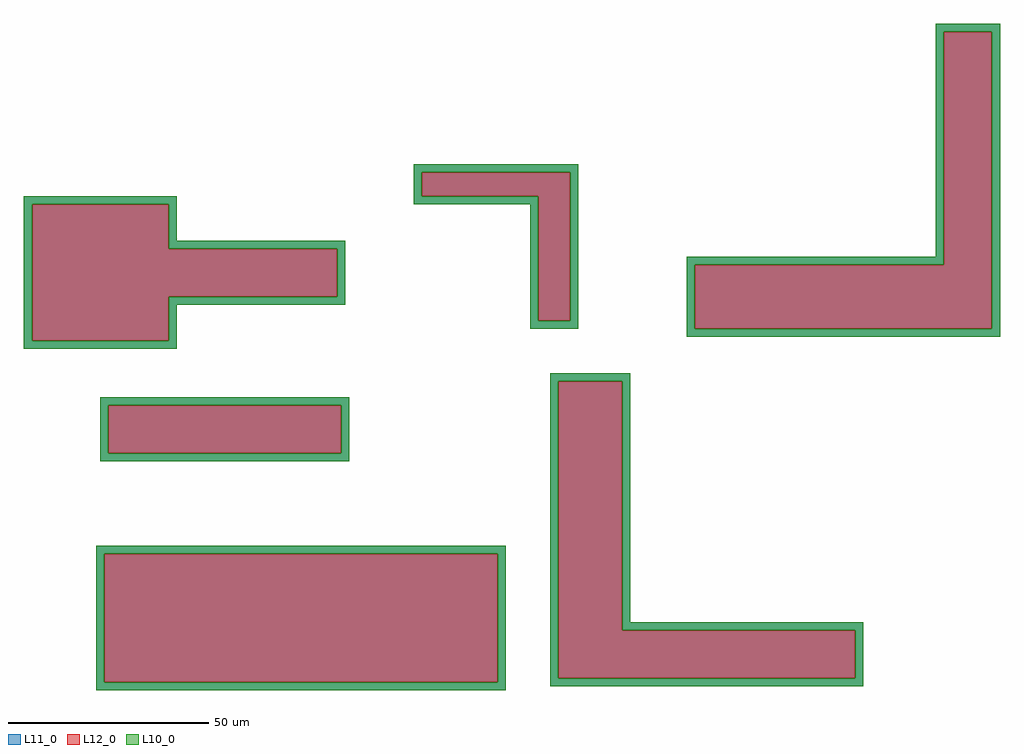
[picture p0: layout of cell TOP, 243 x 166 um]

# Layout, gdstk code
import gdstk
lib = gdstk.Library(unit=1e-6, precision=1e-09)
def R(c, l, rs):  # rectangles x0, y0, x1, y1
    for r in rs: c.add(gdstk.rectangle(r[:2], r[2:], *l))
def P(c, l, *ps):  # polygons
    for p in ps: c.add(gdstk.Polygon(p, *l))
L10_0 = (10, 0)
L11_0 = (11, 0)
L12_0 = (12, 0)

top = lib.new_cell('TOP')
P(top, L10_0, [(5,-102),(5,-68),(7,-68),(7,-100),(105,-100),(105,-68),(5,-68),(5,-66),(107,-66),(107,-102)],
  [(6,-45),(6,-31),(8,-31),(8,-43),(66,-43),(66,-31),(6,-31),(6,-29),(68,-29),(68,-45)],
  [(118,-101),(118,-25),(120,-25),(120,-99),(194,-99),(194,-87),(136,-87),(136,-25),(118,-25),(118,-23),(138,-23),(138,-85),(196,-85),(196,-101)],
  [(-13,-17),(-13,19),(-11,19),(-11,-15),(23,-15),(23,-4),(65,-4),(65,8),(23,8),(23,19),(-13,19),(-13,21),(25,21),(25,10),(67,10),(67,-6),(25,-6),(25,-17)],
  [(113,-12),(113,19),(84,19),(84,27),(86,27),(86,21),(115,21),(115,-10),(123,-10),(123,27),(84,27),(84,29),(125,29),(125,-12)],
  [(152,-14),(152,6),(214,6),(214,62),(216,62),(216,4),(154,4),(154,-12),(228,-12),(228,62),(214,62),(214,64),(230,64),(230,-14)])
R(top, L11_0, [(5,-102,107,-66), (6,-45,68,-29)])
P(top, L11_0, [(118,-101),(118,-23),(138,-23),(138,-85),(196,-85),(196,-101)],
  [(-13,-17),(-13,21),(25,21),(25,10),(67,10),(67,-6),(25,-6),(25,-17)],
  [(113,-12),(113,19),(84,19),(84,29),(125,29),(125,-12)],
  [(152,-14),(152,6),(214,6),(214,64),(230,64),(230,-14)])
R(top, L12_0, [(7,-100,105,-68), (8,-43,66,-31)])
P(top, L12_0, [(120,-99),(120,-25),(136,-25),(136,-87),(194,-87),(194,-99)],
  [(-11,-15),(-11,19),(23,19),(23,8),(65,8),(65,-4),(23,-4),(23,-15)],
  [(115,-10),(115,21),(86,21),(86,27),(123,27),(123,-10)],
  [(154,-12),(154,4),(216,4),(216,62),(228,62),(228,-12)])

lib.write_gds('TOP.gds')
